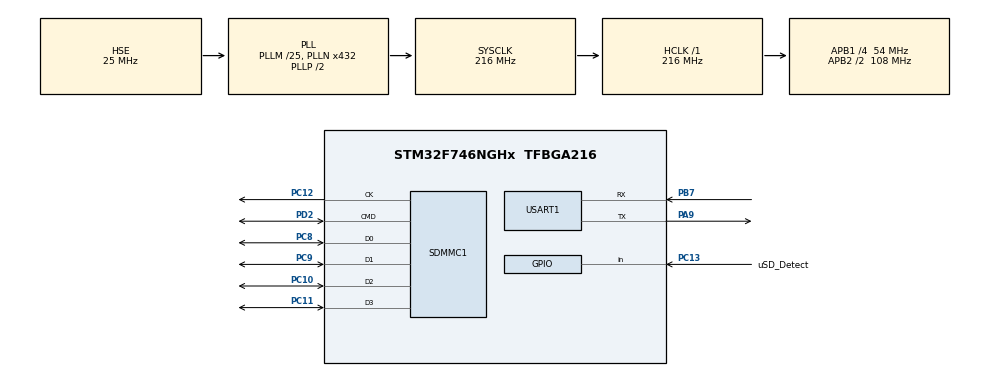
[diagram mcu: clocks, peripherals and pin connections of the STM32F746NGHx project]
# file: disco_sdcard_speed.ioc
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CORTEX_M7.CPU_DCache=Enabled
CORTEX_M7.CPU_ICache=Enabled
CORTEX_M7.default_mode_Activation=1
Dma.Request0=SDMMC1_RX
Dma.Request1=SDMMC1_TX
Dma.SDMMC1_RX.0.Direction=DMA_PERIPH_TO_MEMORY
Dma.SDMMC1_RX.0.FIFOMode=DMA_FIFOMODE_ENABLE
Dma.SDMMC1_RX.0.FIFOThreshold=DMA_FIFO_THRESHOLD_FULL
Dma.SDMMC1_RX.0.Instance=DMA2_Stream3
Dma.SDMMC1_RX.0.MemBurst=DMA_MBURST_INC4
Dma.SDMMC1_RX.0.MemDataAlignment=DMA_MDATAALIGN_WORD
Dma.SDMMC1_RX.0.MemInc=DMA_MINC_ENABLE
Dma.SDMMC1_RX.0.Mode=DMA_PFCTRL
Dma.SDMMC1_RX.0.PeriphBurst=DMA_PBURST_INC4
Dma.SDMMC1_RX.0.PeriphDataAlignment=DMA_PDATAALIGN_WORD
Dma.SDMMC1_RX.0.PeriphInc=DMA_PINC_DISABLE
Dma.SDMMC1_RX.0.Priority=DMA_PRIORITY_LOW
Dma.SDMMC1_TX.1.Direction=DMA_MEMORY_TO_PERIPH
Dma.SDMMC1_TX.1.FIFOMode=DMA_FIFOMODE_ENABLE
Dma.SDMMC1_TX.1.FIFOThreshold=DMA_FIFO_THRESHOLD_FULL
Dma.SDMMC1_TX.1.Instance=DMA2_Stream6
Dma.SDMMC1_TX.1.MemBurst=DMA_MBURST_INC4
Dma.SDMMC1_TX.1.MemDataAlignment=DMA_MDATAALIGN_WORD
Dma.SDMMC1_TX.1.MemInc=DMA_MINC_ENABLE
Dma.SDMMC1_TX.1.Mode=DMA_PFCTRL
Dma.SDMMC1_TX.1.PeriphBurst=DMA_PBURST_INC4
Dma.SDMMC1_TX.1.PeriphDataAlignment=DMA_PDATAALIGN_WORD
Dma.SDMMC1_TX.1.PeriphInc=DMA_PINC_DISABLE
Dma.SDMMC1_TX.1.Priority=DMA_PRIORITY_LOW
FATFS.BSP.number=1
FATFS.USE_DMA_CODE_SD=1
FATFS._MAX_SS=512
FATFS._MIN_SS=512
FATFS._MULTI_PARTITION=1
FATFS0.BSP.STBoard=false
FATFS0.BSP.api=Unknown
FATFS0.BSP.instance=PC13
FATFS0.BSP.ip=GPIO
FATFS0.BSP.mode=Input
FATFS0.BSP.name=Detect_SDIO
FATFS0.BSP.solution=PC13
Mcu.Family=STM32F7
Mcu.Name=STM32F746NGHx
Mcu.Package=TFBGA216
NVIC.DMA2_Stream3_IRQn=true\:0\:0\:false\:false\:true\:false\:true\:true
NVIC.DMA2_Stream6_IRQn=true\:0\:0\:false\:false\:true\:false\:true\:true
NVIC.PriorityGroup=NVIC_PRIORITYGROUP_4
NVIC.SDMMC1_IRQn=true\:0\:0\:false\:false\:true\:true\:true\:true
NVIC.USART1_IRQn=true\:0\:0\:false\:false\:true\:true\:true\:true
PA13.Mode=Serial_Wire
PA13.Signal=SYS_JTMS-SWDIO
PA14.Mode=Serial_Wire
PA14.Signal=SYS_JTCK-SWCLK
PA9.Mode=Asynchronous
PA9.Signal=USART1_TX
PB7.Mode=Asynchronous
PB7.Signal=USART1_RX
PC10.Mode=SD_4_bits_Wide_bus
PC10.Signal=SDMMC1_D2
PC11.Mode=SD_4_bits_Wide_bus
PC11.Signal=SDMMC1_D3
PC12.Mode=SD_4_bits_Wide_bus
PC12.Signal=SDMMC1_CK
PC13.GPIO_Label=uSD_Detect
PC13.Signal=GPIO_Input
PC14/OSC32_IN.Mode=LSE-External-Oscillator
PC14/OSC32_IN.Signal=RCC_OSC32_IN
PC15/OSC32_OUT.Mode=LSE-External-Oscillator
PC15/OSC32_OUT.Signal=RCC_OSC32_OUT
PC8.Mode=SD_4_bits_Wide_bus
PC8.Signal=SDMMC1_D0
PC9.Mode=SD_4_bits_Wide_bus
PC9.Signal=SDMMC1_D1
PD2.Mode=SD_4_bits_Wide_bus
PD2.Signal=SDMMC1_CMD
PH0/OSC_IN.Mode=HSE-External-Oscillator
PH0/OSC_IN.Signal=RCC_OSC_IN
PH1/OSC_OUT.Mode=HSE-External-Oscillator
PH1/OSC_OUT.Signal=RCC_OSC_OUT
ProjectManager.HeapSize=0x400
ProjectManager.StackSize=0x800
ProjectManager.TargetToolchain=STM32CubeIDE
RCC.AHBFreq_Value=216000000
RCC.APB1CLKDivider=RCC_HCLK_DIV4
RCC.APB1Freq_Value=54000000
RCC.APB1TimFreq_Value=108000000
RCC.APB2CLKDivider=RCC_HCLK_DIV2
RCC.APB2Freq_Value=108000000
RCC.APB2TimFreq_Value=216000000
RCC.CortexFreq_Value=216000000
RCC.HCLKFreq_Value=216000000
RCC.HSE_VALUE=25000000
RCC.HSI_VALUE=16000000
RCC.PLL48CLockSelection=RCC_CLK48SOURCE_PLLSAIP
RCC.PLLI2SN=100
RCC.PLLM=25
RCC.PLLN=432
RCC.PLLQ=8
RCC.PLLSAIN=100
RCC.PLLSAIR=5
RCC.PLLSAIRDiv=RCC_PLLSAIDIVR_8
RCC.PLLSourceVirtual=RCC_PLLSOURCE_HSE
RCC.SDMMCClockSelection=RCC_SDMMC1CLKSOURCE_CLK48
RCC.SYSCLKFreq_VALUE=216000000
RCC.SYSCLKSource=RCC_SYSCLKSOURCE_PLLCLK
RCC.USBFreq_Value=50000000
RCC.VCOOutputFreq_Value=432000000
SDMMC1.ClockDiv=0
USART1.VirtualMode-Asynchronous=VM_ASYNC
VP_FATFS_VS_SDIO.Mode=SDIO
board=STM32F746G-DISCO

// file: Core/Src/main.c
/* USER CODE BEGIN Header */
/**
 ******************************************************************************
 * @file           : main.c
 * @brief          : Main program body
 ******************************************************************************
 * @attention
 *
 * Copyright (c) 2025 STMicroelectronics.
 * All rights reserved.
 *
 * This software is licensed under terms that can be found in the LICENSE file
 * in the root directory of this software component.
 * If no LICENSE file comes with this software, it is provided AS-IS.
 *
 ******************************************************************************
 */
/* USER CODE END Header */
#include "main.h"
#include "fatfs.h"

/* USER CODE BEGIN Includes */
#include "stm32f7xx_hal.h"
#include "fatfs.h"
#include "bsp_driver_sd.h"
#include <string.h>
#include <stdio.h>
/* USER CODE END Includes */

SD_HandleTypeDef hsd1;
DMA_HandleTypeDef hdma_sdmmc1_rx;
DMA_HandleTypeDef hdma_sdmmc1_tx;

UART_HandleTypeDef huart1;

void SystemClock_Config(void);
static void MPU_Config(void);
static void MX_GPIO_Init(void);
static void MX_DMA_Init(void);
static void MX_USART1_UART_Init(void);
static void MX_SDMMC1_SD_Init(void);

/* USER CODE BEGIN 0 */
/* FATFS Değişkenleri */

int _write(int file, char *ptr, int len) {
    for (int i = 0; i < len; i++) {
        HAL_UART_Transmit(&huart1, (uint8_t *)&ptr[i], 1, HAL_MAX_DELAY);
    }
    return len;
}

uint8_t workBuffer[_MAX_SS*8];
void sd_card_fromat() {
	memset(workBuffer,0,sizeof(workBuffer));
	printf("FatFs: Start formatting SD Card..\n");
	uint32_t start=HAL_GetTick();
	if (f_mkfs((TCHAR const*) SDPath, FM_ANY, 0, workBuffer, sizeof(workBuffer))
			!= FR_OK) {
		/* FatFs Format Error */
		printf("FatFs: Failed to format SD Card!!\n");
		Error_Handler();
	}
	printf("FatFs: formatted SD Card...%lu ms\n",HAL_GetTick()-start);
}

volatile uint8_t workBuffer2[16*4*512];	//512* ..
/*
 * 50mhz
 * 	 noname FatFs: Write speed: 77.00 KB/s	 512b	buffer
 * 	 		FatFs: Write speed: 1595.02 KB/s 32kb	buffer
* 	  UHS-1 FatFs: Write speed: 430.61 KB/s	 512b	buffer
* 			FatFs: Write speed: 951.26 KB/s	 1kb	buffer
 * 			FatFs: Write speed: 1882.82 KB/s 2kb	buffer
 *			FatFs: Write speed: 3494.82 KB/s 4kb	buffer
 *			FatFs: Write speed: 5688.95 KB/s 8kb	buffer
 *			FatFs: Write speed: 6243.90 KB/s 16kb	buffer
 *			FatFs: Write speed: 6249.35 KB/s 32kb	buffer
 *			FatFs: Failed to open/create file!! 64kb buffer error
 *
 *50 mhz 56kb buffer FatFs: Write speed: 9524.16 KB/s
 */
unsigned long mb=20;//test mb
void sd_card_write_test() {

	for (int i = 0; i < sizeof(workBuffer2); i++) {
		workBuffer2[i] = 'A';
	}

	printf("FatFs: Write %lu mb test started\n", mb);

	// Open or create a file on SD card (replace "test.txt" with your desired file name)
	if (f_open(&SDFile, "test.txt", FA_WRITE | FA_CREATE_ALWAYS) != FR_OK) {
		printf("FatFs: Failed to open/create file!!\n");
		return;
	}

	unsigned long totalBytesWritten = 0;
	unsigned long totalBytes = mb*1024 * 1024;

	uint32_t start=HAL_GetTick();
	while (totalBytesWritten < totalBytes) {
		unsigned long bytesToWrite = sizeof(workBuffer2);
		unsigned long bytesWrittenThisTime = 0;
	    FRESULT res = f_write(&SDFile, workBuffer2, bytesToWrite, &bytesWrittenThisTime);

	    if (res != FR_OK) {
	    	printf("FatFs: Write error, error code: %d\n", res);
	        f_close(&SDFile);
	        return;
	    }

	    if (bytesWrittenThisTime == 0) {
	    	printf("FatFs: Write failed, no bytes written!\n");
	        f_close(&SDFile);
	        return;
	    }

	    totalBytesWritten += bytesWrittenThisTime;
	}

	if (f_close(&SDFile) != FR_OK) {
		printf("FatFs: Failed to close file!!\n");
	}

	unsigned long elapsedTime = HAL_GetTick() - start;

	// Yazma hızını hesapla (Byte/saniye)
	float writeSpeed = (float)totalBytesWritten / (elapsedTime/1000.0f);  // MB/s cinsinden yazma hızı
	printf("FatFs: Write total time: %lu ms\n", elapsedTime);
	printf("FatFs: Write speed: %.2f KB/s\n", writeSpeed / 1024);  // Yazma hızını KB/s cinsinden yazdır

}
void sd_card_read_test(){

    printf("FatFs: Read %lu MB test started\n", mb);

    // Test dosyasını aç
    if (f_open(&SDFile, "test.txt", FA_READ) != FR_OK) {
        printf("FatFs: Failed to open file for reading!!\n");
        return;
    }
    volatile uint32_t totalBytes = mb*1024 * 1024;
    volatile uint32_t totalBytesRead = 0;
    uint32_t startRead = HAL_GetTick();

    while (totalBytesRead < totalBytes) {
        volatile UINT bytesReadThisTime = 0;
        FRESULT res = f_read(&SDFile, workBuffer2, sizeof(workBuffer2), &bytesReadThisTime);

        if (res != FR_OK) {
            printf("FatFs: Read error, error code: %d\n", res);
            f_close(&SDFile);
            return;
        }

        if (bytesReadThisTime == 0) {
            printf("FatFs: Read failed, no bytes read!\n");
            f_close(&SDFile);
            return;
        }

        totalBytesRead += bytesReadThisTime;
    }

    if (f_close(&SDFile) != FR_OK) {
        printf("FatFs: Failed to close file after reading!!\n");
    }

    unsigned long elapsedReadTime = HAL_GetTick() - startRead;
    float readSpeed = (float)totalBytesRead / (elapsedReadTime / 1000.0f);

    printf("FatFs: Read total time: %lu ms\n", elapsedReadTime);
    printf("FatFs: Read speed: %.2f KB/s\n", readSpeed / 1024);

}
void SD_Card_Test(void) {
	FATFS_UnLinkDriver(SDPath);
	if (FATFS_LinkDriver(&SD_Driver, SDPath) == 0) {
		if (f_mount(&SDFatFS, (TCHAR const*) SDPath, 0) != FR_OK) {
			printf("FatFs: Failed to mount SD Card!!\n");
			Error_Handler();
		}

		sd_card_fromat();
		if (f_opendir(&SDFile, (TCHAR const*) "0:/") == FR_OK) {
			__NOP();
		}
		sd_card_write_test();
		sd_card_read_test();

		FATFS_UnLinkDriver(SDPath);
	}
}

/* USER CODE END 0 */

int main(void)
{

  /* MPU Configuration--------------------------------------------------------*/
  MPU_Config();

  /* Enable the CPU Cache */

  /* Enable I-Cache---------------------------------------------------------*/
  SCB_EnableICache();

  /* Enable D-Cache---------------------------------------------------------*/
  SCB_EnableDCache();

  /* MCU Configuration--------------------------------------------------------*/

  /* Reset of all peripherals, Initializes the Flash interface and the Systick. */
  HAL_Init();

  /* Configure the system clock */
  SystemClock_Config();

  /* Initialize all configured peripherals */
  MX_GPIO_Init();
  MX_DMA_Init();
  MX_USART1_UART_Init();
  MX_SDMMC1_SD_Init();
  MX_FATFS_Init();
  /* USER CODE BEGIN 2 */
  setvbuf(stdout, NULL, _IONBF, 0);
  /* USER CODE END 2 */

  /* Infinite loop */
  /* USER CODE BEGIN WHILE */
	SD_Card_Test();

	while (1) {

		HAL_Delay(5000);
    /* USER CODE END WHILE */

	}
}

void SystemClock_Config(void)
{
  RCC_OscInitTypeDef RCC_OscInitStruct = {0};
  RCC_ClkInitTypeDef RCC_ClkInitStruct = {0};

  /** Configure LSE Drive Capability
  */
  HAL_PWR_EnableBkUpAccess();

  /** Configure the main internal regulator output voltage
  */
  __HAL_RCC_PWR_CLK_ENABLE();
  __HAL_PWR_VOLTAGESCALING_CONFIG(PWR_REGULATOR_VOLTAGE_SCALE1);

  /** Initializes the RCC Oscillators according to the specified parameters
  * in the RCC_OscInitTypeDef structure.
  */
  RCC_OscInitStruct.OscillatorType = RCC_OSCILLATORTYPE_HSE;
  RCC_OscInitStruct.HSEState = RCC_HSE_ON;
  RCC_OscInitStruct.PLL.PLLState = RCC_PLL_ON;
  RCC_OscInitStruct.PLL.PLLSource = RCC_PLLSOURCE_HSE;
  RCC_OscInitStruct.PLL.PLLM = 25;
  RCC_OscInitStruct.PLL.PLLN = 432;
  RCC_OscInitStruct.PLL.PLLP = RCC_PLLP_DIV2;
  RCC_OscInitStruct.PLL.PLLQ = 8;
  if (HAL_RCC_OscConfig(&RCC_OscInitStruct) != HAL_OK)
  {
    Error_Handler();
  }

  /** Activate the Over-Drive mode
  */
  if (HAL_PWREx_EnableOverDrive() != HAL_OK)
  {
    Error_Handler();
  }

  /** Initializes the CPU, AHB and APB buses clocks
  */
  RCC_ClkInitStruct.ClockType = RCC_CLOCKTYPE_HCLK|RCC_CLOCKTYPE_SYSCLK
                              |RCC_CLOCKTYPE_PCLK1|RCC_CLOCKTYPE_PCLK2;
  RCC_ClkInitStruct.SYSCLKSource = RCC_SYSCLKSOURCE_PLLCLK;
  RCC_ClkInitStruct.AHBCLKDivider = RCC_SYSCLK_DIV1;
  RCC_ClkInitStruct.APB1CLKDivider = RCC_HCLK_DIV4;
  RCC_ClkInitStruct.APB2CLKDivider = RCC_HCLK_DIV2;

  if (HAL_RCC_ClockConfig(&RCC_ClkInitStruct, FLASH_LATENCY_7) != HAL_OK)
  {
    Error_Handler();
  }
}

static void MX_SDMMC1_SD_Init(void)
{

  hsd1.Instance = SDMMC1;
  hsd1.Init.ClockEdge = SDMMC_CLOCK_EDGE_RISING;
  hsd1.Init.ClockBypass = SDMMC_CLOCK_BYPASS_DISABLE;
  hsd1.Init.ClockPowerSave = SDMMC_CLOCK_POWER_SAVE_DISABLE;
  hsd1.Init.BusWide = SDMMC_BUS_WIDE_4B;
  hsd1.Init.HardwareFlowControl = SDMMC_HARDWARE_FLOW_CONTROL_DISABLE;
  hsd1.Init.ClockDiv = 0;
  /* USER CODE BEGIN SDMMC1_Init 2 */
  hsd1.Init.BusWide = SDMMC_BUS_WIDE_1B;// Set to 1-bit mode initially

  // Once the board is initialized and the pins are correctly configured,
  // the BSP will automatically attempt to switch to 4-bit mode.
  //When 4-bit mode is active, it not working without DMA. I don't understand the reason.

  /* USER CODE END SDMMC1_Init 2 */

}

static void MX_USART1_UART_Init(void)
{

  huart1.Instance = USART1;
  huart1.Init.BaudRate = 115200;
  huart1.Init.WordLength = UART_WORDLENGTH_8B;
  huart1.Init.StopBits = UART_STOPBITS_1;
  huart1.Init.Parity = UART_PARITY_NONE;
  huart1.Init.Mode = UART_MODE_TX_RX;
  huart1.Init.HwFlowCtl = UART_HWCONTROL_NONE;
  huart1.Init.OverSampling = UART_OVERSAMPLING_16;
  huart1.Init.OneBitSampling = UART_ONE_BIT_SAMPLE_DISABLE;
  huart1.AdvancedInit.AdvFeatureInit = UART_ADVFEATURE_NO_INIT;
  if (HAL_UART_Init(&huart1) != HAL_OK)
  {
    Error_Handler();
  }

}

static void MX_DMA_Init(void)
{

  /* DMA controller clock enable */
  __HAL_RCC_DMA2_CLK_ENABLE();

  /* DMA interrupt init */
  /* DMA2_Stream3_IRQn interrupt configuration */
  HAL_NVIC_SetPriority(DMA2_Stream3_IRQn, 0, 0);
  HAL_NVIC_EnableIRQ(DMA2_Stream3_IRQn);
  /* DMA2_Stream6_IRQn interrupt configuration */
  HAL_NVIC_SetPriority(DMA2_Stream6_IRQn, 0, 0);
  HAL_NVIC_EnableIRQ(DMA2_Stream6_IRQn);

}

static void MX_GPIO_Init(void)
{
  GPIO_InitTypeDef GPIO_InitStruct = {0};

  /* GPIO Ports Clock Enable */
  __HAL_RCC_GPIOC_CLK_ENABLE();
  __HAL_RCC_GPIOA_CLK_ENABLE();
  __HAL_RCC_GPIOB_CLK_ENABLE();
  __HAL_RCC_GPIOD_CLK_ENABLE();
  __HAL_RCC_GPIOH_CLK_ENABLE();

  /*Configure GPIO pin : uSD_Detect_Pin */
  GPIO_InitStruct.Pin = uSD_Detect_Pin;
  GPIO_InitStruct.Mode = GPIO_MODE_INPUT;
  GPIO_InitStruct.Pull = GPIO_NOPULL;
  HAL_GPIO_Init(uSD_Detect_GPIO_Port, &GPIO_InitStruct);

}

 /* MPU Configuration */

void MPU_Config(void)
{
  MPU_Region_InitTypeDef MPU_InitStruct = {0};

  /* Disables the MPU */
  HAL_MPU_Disable();

  /** Initializes and configures the Region and the memory to be protected
  */
  MPU_InitStruct.Enable = MPU_REGION_ENABLE;
  MPU_InitStruct.Number = MPU_REGION_NUMBER0;
  MPU_InitStruct.BaseAddress = 0x0;
  MPU_InitStruct.Size = MPU_REGION_SIZE_4GB;
  MPU_InitStruct.SubRegionDisable = 0x87;
  MPU_InitStruct.TypeExtField = MPU_TEX_LEVEL0;
  MPU_InitStruct.AccessPermission = MPU_REGION_NO_ACCESS;
  MPU_InitStruct.DisableExec = MPU_INSTRUCTION_ACCESS_DISABLE;
  MPU_InitStruct.IsShareable = MPU_ACCESS_SHAREABLE;
  MPU_InitStruct.IsCacheable = MPU_ACCESS_NOT_CACHEABLE;
  MPU_InitStruct.IsBufferable = MPU_ACCESS_NOT_BUFFERABLE;

  HAL_MPU_ConfigRegion(&MPU_InitStruct);
  /* Enables the MPU */
  HAL_MPU_Enable(MPU_PRIVILEGED_DEFAULT);

}

void Error_Handler(void)
{
	__disable_irq();
	while (1) {
	}
}

#ifdef  USE_FULL_ASSERT
/**
  * @brief  Reports the name of the source file and the source line number
  *         where the assert_param error has occurred.
  * @param  file: pointer to the source file name
  * @param  line: assert_param error line source number
  * @retval None
  */
void assert_failed(uint8_t *file, uint32_t line)
{
  /* USER CODE BEGIN 6 */
  /* User can add his own implementation to report the file name and line number,
     ex: UART_Print("Wrong parameters value: file %s on line %d\r\n", file, line) */
  /* USER CODE END 6 */
}
#endif /* USE_FULL_ASSERT */
